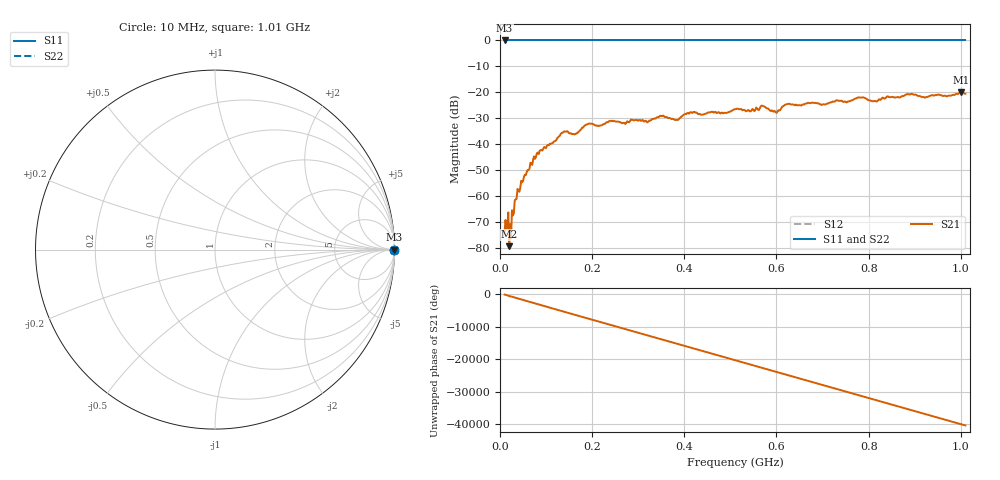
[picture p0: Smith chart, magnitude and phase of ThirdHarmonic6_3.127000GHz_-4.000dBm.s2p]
! 8/17/2025 9:17:45 AM
! C:\ANRITSUVNA\TEMP\TEMP.S2P
! CHANNEL.1
! TR.MEASUREMENT
! RAW.DATA
! RF.CORRECTION.OFF
! AVERAGING.OFF
! IF.BANDWIDTH: 5KHZ
! SWEEPTYPE:  FREQ.SWEEP(Linear)
! Reference Plane Port Info
! PORT:  PORT1  PORT2
! DISTANCE:  0  m  0  m
! TIME:  0  s  0  s
! PHASE.OFFSET:  0  deg.  0  deg.
! LOSS:  0  dB  0  dB
! REF.LOSS:  0  dB  0  dB
! REF.FREQ:  0  Hz  0  Hz
! Power Info
! POWER:  -20  dBm  -20  dBm
! EFF.POWER:  -20  dBm  -20  dBm
! SOURCE.ATTEN:  0  dB  0  dB
! TEST.ATTEN:  0  dB  0  dB
# GHZ S RI R 50.0
! FREQ.GHZ  S11RE  S11IM  S21RE  S21IM  S12RE  S12IM  S22RE  S22IM
!; PortSelection: Port_12
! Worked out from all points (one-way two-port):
!   501 points, 10 MHz to 1.01 GHz, reference 50 ohm
!   highest |S21| = -20.07 dB at 1 GHz (marker M1); lowest = -79.4 dB at 20 MHz (marker M2)
!   lowest |S11| = 0.0 dB at 10 MHz (marker M3)
!   |S11| at or under -10 dB: nowhere
!   |S22| runs from 0.0 to 0.0 dB; largest |S21 - S12| = 1.1
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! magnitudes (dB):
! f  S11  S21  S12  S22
! 10 MHz  0.0  -73.7  0.0  0.0
! 14 MHz  0.0  -72.8  0.0  0.0
! 20 MHz  0.0  -79.4  0.0  0.0
! 24 MHz  0.0  -76.3  0.0  0.0
! 30 MHz  0.0  -66.8  0.0  0.0
! 36 MHz  0.0  -61.2  0.0  0.0
! 78 MHz  0.0  -45.0  0.0  0.0
! 136 MHz  0.0  -35.6  0.0  0.0
! 164 MHz  0.0  -36.1  0.0  0.0
! 178 MHz  0.0  -33.7  0.0  0.0
! 194 MHz  0.0  -32.1  0.0  0.0
! 344 MHz  0.0  -29.7  0.0  0.0
! 384 MHz  0.0  -30.7  0.0  0.0
! 410 MHz  0.0  -28.3  0.0  0.0
! 510 MHz  0.0  -26.6  0.0  0.0
! 570 MHz  0.0  -25.2  0.0  0.0
! 598 MHz  0.0  -27.6  0.0  0.0
! 622 MHz  0.0  -24.6  0.0  0.0
! 678 MHz  0.0  -24.0  0.0  0.0
! 844 MHz  0.0  -21.8  0.0  0.0
! 1 GHz  0.0  -20.1  0.0  0.0
! 1.01 GHz  0.0  -20.6  0.0  0.0
